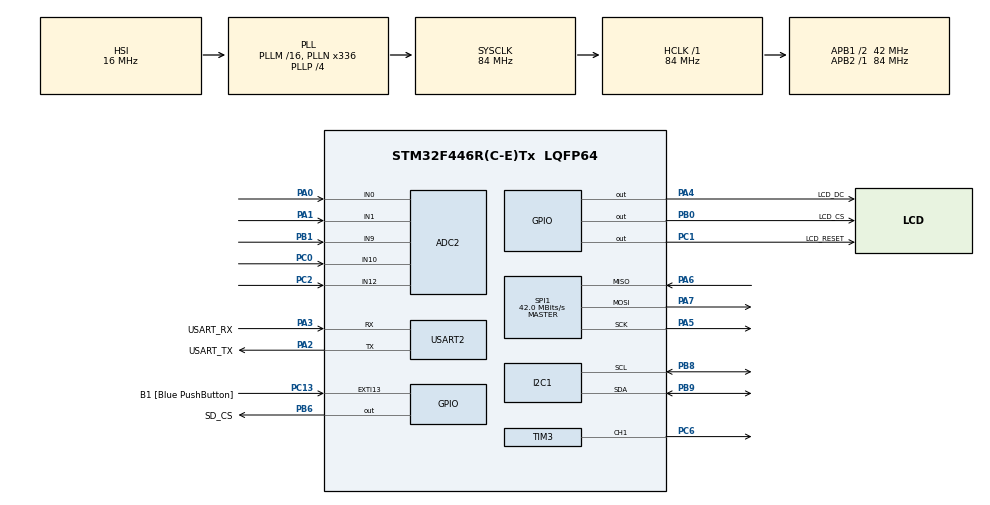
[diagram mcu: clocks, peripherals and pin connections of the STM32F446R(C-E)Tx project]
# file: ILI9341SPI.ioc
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ADC2.Channel-0\#ChannelRegularConversion=ADC_CHANNEL_0
ADC2.Channel-1\#ChannelRegularConversion=ADC_CHANNEL_1
ADC2.Channel-2\#ChannelRegularConversion=ADC_CHANNEL_9
ADC2.Channel-3\#ChannelRegularConversion=ADC_CHANNEL_10
ADC2.Channel-4\#ChannelRegularConversion=ADC_CHANNEL_12
ADC2.ContinuousConvMode=ENABLE
ADC2.DMAContinuousRequests=ENABLE
ADC2.DiscontinuousConvMode=DISABLE
ADC2.EOCSelection=ADC_EOC_SEQ_CONV
ADC2.NbrOfConversion=5
ADC2.NbrOfConversionFlag=1
ADC2.Rank-0\#ChannelRegularConversion=1
ADC2.Rank-1\#ChannelRegularConversion=2
ADC2.Rank-2\#ChannelRegularConversion=3
ADC2.Rank-3\#ChannelRegularConversion=4
ADC2.Rank-4\#ChannelRegularConversion=5
ADC2.SamplingTime-0\#ChannelRegularConversion=ADC_SAMPLETIME_480CYCLES
ADC2.SamplingTime-1\#ChannelRegularConversion=ADC_SAMPLETIME_480CYCLES
ADC2.SamplingTime-2\#ChannelRegularConversion=ADC_SAMPLETIME_480CYCLES
ADC2.SamplingTime-3\#ChannelRegularConversion=ADC_SAMPLETIME_480CYCLES
ADC2.SamplingTime-4\#ChannelRegularConversion=ADC_SAMPLETIME_480CYCLES
ADC2.ScanConvMode=ENABLE
Dma.ADC2.0.Direction=DMA_PERIPH_TO_MEMORY
Dma.ADC2.0.FIFOMode=DMA_FIFOMODE_DISABLE
Dma.ADC2.0.Instance=DMA2_Stream2
Dma.ADC2.0.MemDataAlignment=DMA_MDATAALIGN_HALFWORD
Dma.ADC2.0.MemInc=DMA_MINC_ENABLE
Dma.ADC2.0.Mode=DMA_CIRCULAR
Dma.ADC2.0.PeriphDataAlignment=DMA_PDATAALIGN_HALFWORD
Dma.ADC2.0.PeriphInc=DMA_PINC_DISABLE
Dma.ADC2.0.Priority=DMA_PRIORITY_LOW
Dma.Request0=ADC2
Dma.Request1=TIM3_CH1/TRIG
Dma.TIM3_CH1/TRIG.1.Direction=DMA_MEMORY_TO_PERIPH
Dma.TIM3_CH1/TRIG.1.FIFOMode=DMA_FIFOMODE_DISABLE
Dma.TIM3_CH1/TRIG.1.Instance=DMA1_Stream4
Dma.TIM3_CH1/TRIG.1.MemDataAlignment=DMA_MDATAALIGN_HALFWORD
Dma.TIM3_CH1/TRIG.1.MemInc=DMA_MINC_ENABLE
Dma.TIM3_CH1/TRIG.1.Mode=DMA_NORMAL
Dma.TIM3_CH1/TRIG.1.PeriphDataAlignment=DMA_PDATAALIGN_HALFWORD
Dma.TIM3_CH1/TRIG.1.PeriphInc=DMA_PINC_DISABLE
Dma.TIM3_CH1/TRIG.1.Priority=DMA_PRIORITY_LOW
I2C1.OwnAddress=0x18
Mcu.Family=STM32F4
Mcu.Name=STM32F446R(C-E)Tx
Mcu.Package=LQFP64
NVIC.DMA1_Stream4_IRQn=true\:0\:0\:false\:false\:true\:false\:true\:true
NVIC.DMA2_Stream2_IRQn=true\:0\:0\:false\:false\:true\:false\:true\:true
NVIC.I2C1_ER_IRQn=true\:0\:0\:false\:false\:true\:true\:true\:true
NVIC.I2C1_EV_IRQn=true\:0\:0\:false\:false\:true\:true\:true\:true
NVIC.PriorityGroup=NVIC_PRIORITYGROUP_0
PA0-WKUP.Signal=ADCx_IN0
PA1.Signal=ADCx_IN1
PA13.GPIO_Label=TMS
PA13.Mode=Serial_Wire
PA13.Signal=SYS_JTMS-SWDIO
PA14.GPIO_Label=TCK
PA14.Mode=Serial_Wire
PA14.Signal=SYS_JTCK-SWCLK
PA2.GPIO_Label=USART_TX
PA2.Mode=Asynchronous
PA2.Signal=USART2_TX
PA3.GPIO_Label=USART_RX
PA3.Mode=Asynchronous
PA3.Signal=USART2_RX
PA4.GPIO_Label=LCD_DC
PA4.GPIO_Speed=GPIO_SPEED_FREQ_MEDIUM
PA4.Signal=GPIO_Output
PA5.Mode=Full_Duplex_Master
PA5.Signal=SPI1_SCK
PA6.Mode=Full_Duplex_Master
PA6.Signal=SPI1_MISO
PA7.Mode=Full_Duplex_Master
PA7.Signal=SPI1_MOSI
PB0.GPIO_Label=LCD_CS
PB0.GPIO_Speed=GPIO_SPEED_FREQ_MEDIUM
PB0.Signal=GPIO_Output
PB1.Signal=ADCx_IN9
PB3.GPIO_Label=SWO
PB3.Signal=SYS_JTDO-SWO
PB6.GPIO_Label=SD_CS
PB6.GPIO_Speed=GPIO_SPEED_FREQ_MEDIUM
PB6.Signal=GPIO_Output
PB8.GPIO_Pu=GPIO_PULLUP
PB8.Mode=I2C
PB8.Signal=I2C1_SCL
PB9.GPIO_Pu=GPIO_PULLUP
PB9.Mode=I2C
PB9.Signal=I2C1_SDA
PC0.Signal=ADCx_IN10
PC1.GPIO_Label=LCD_RESET
PC1.GPIO_Speed=GPIO_SPEED_FREQ_MEDIUM
PC1.Signal=GPIO_Output
PC13.GPIO_Label=B1 [Blue PushButton]
PC13.GPIO_ModeDefaultEXTI=GPIO_MODE_IT_FALLING
PC13.Signal=GPXTI13
PC14-OSC32_IN.Mode=LSE-External-Oscillator
PC14-OSC32_IN.Signal=RCC_OSC32_IN
PC15-OSC32_OUT.Mode=LSE-External-Oscillator
PC15-OSC32_OUT.Signal=RCC_OSC32_OUT
PC2.Signal=ADCx_IN12
PC6.Signal=S_TIM3_CH1
PH0-OSC_IN.Mode=HSE-External-Oscillator
PH0-OSC_IN.Signal=RCC_OSC_IN
PH1-OSC_OUT.Mode=HSE-External-Oscillator
PH1-OSC_OUT.Signal=RCC_OSC_OUT
ProjectManager.HeapSize=0x200
ProjectManager.StackSize=0x400
ProjectManager.TargetToolchain=STM32CubeIDE
RCC.48MHZClocksFreq_Value=84000000
RCC.AHBFreq_Value=84000000
RCC.APB1CLKDivider=RCC_HCLK_DIV2
RCC.APB1Freq_Value=42000000
RCC.APB1TimFreq_Value=84000000
RCC.APB2Freq_Value=84000000
RCC.APB2TimFreq_Value=84000000
RCC.CortexFreq_Value=84000000
RCC.FLatency-AdvancedSettings=FLASH_LATENCY_2
RCC.HCLKFreq_Value=84000000
RCC.HSE_VALUE=8000000
RCC.HSI_VALUE=16000000
RCC.PLLN=336
RCC.PLLP=RCC_PLLP_DIV4
RCC.SYSCLKFreq_VALUE=84000000
RCC.SYSCLKSource=RCC_SYSCLKSOURCE_PLLCLK
RCC.USBFreq_Value=168000000
RCC.VCOOutputFreq_Value=336000000
SH.ADCx_IN0.0=ADC2_IN0,IN0
SH.ADCx_IN1.0=ADC2_IN1,IN1
SH.ADCx_IN10.0=ADC2_IN10,IN10
SH.ADCx_IN12.0=ADC2_IN12,IN12
SH.ADCx_IN9.0=ADC2_IN9,IN9
SH.S_TIM3_CH1.0=TIM3_CH1,PWM Generation1 CH1
SPI1.BaudRatePrescaler=SPI_BAUDRATEPRESCALER_2
SPI1.CalculateBaudRate=42.0 MBits/s
SPI1.Direction=SPI_DIRECTION_2LINES
SPI1.Mode=SPI_MODE_MASTER
SPI1.VirtualType=VM_MASTER
TIM3.Channel-PWM\ Generation1\ CH1=TIM_CHANNEL_1
TIM3.Period=105-1
USART2.VirtualMode=VM_ASYNC
VP_TIM3_VS_ClockSourceINT.Mode=Internal
board=NUCLEO-F446RE

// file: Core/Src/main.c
/* USER CODE BEGIN Header */
/**
 ******************************************************************************
 * @file           : main.c
 * @brief          : Main program body
 ******************************************************************************
 * @attention
 *
 * Copyright (c) 2024 STMicroelectronics.
 * All rights reserved.
 *
 * This software is licensed under terms that can be found in the LICENSE file
 * in the root directory of this software component.
 * If no LICENSE file comes with this software, it is provided AS-IS.
 *
 ******************************************************************************
 */
/* USER CODE END Header */
#include "main.h"

/* USER CODE BEGIN Includes */
#include "ili9341.h"
#include "bitmaps.h"
#include <stdio.h>
#include <string.h>
#include <stdlib.h>

#include "neopixel.h"
/* USER CODE END Includes */

/* USER CODE BEGIN PTD */
// Variables para actualizar la cantidad parqueos por niveles
uint8_t cant1 = 0;
uint8_t cant2 = 0;

char num;

uint16_t park[68*20]; // Buffer para guardar partes del mondo que son necesarios dibujar
uint16_t car[246*68]; // Buffer para guardar el sprite de los carros.
uint16_t he[183*80]; // Buffer para guardar el sprite del helicoptero.

//Varibales para verificación de ocupación de los paqueos en A
uint8_t park1A = 0;
uint8_t park2A = 0;
uint8_t park3A = 0;
uint8_t park4A = 0;
uint8_t park5A = 0;

//Varibales para verificación de ocupación de los paqueos en B
uint8_t park1B = 0;
uint8_t park2B = 0;
uint8_t park3B = 0;
uint8_t park4B = 0;
uint8_t park5B = 0;

/* USER CODE END PTD */

ADC_HandleTypeDef hadc2;
DMA_HandleTypeDef hdma_adc2;

I2C_HandleTypeDef hi2c1;

SPI_HandleTypeDef hspi1;

TIM_HandleTypeDef htim3;
DMA_HandleTypeDef hdma_tim3_ch1_trig;

UART_HandleTypeDef huart2;

/* USER CODE BEGIN PV */
volatile uint16_t ADCVal[5]; // Variable para guardar los ADC
volatile uint16_t sotB[4]; // Buffer pa
volatile uint8_t adc_index = 0;
float brilloled;

#define TXBUFFERSIZE 4
#define RXBUFFERSIZE 4

int count = 0;

uint8_t aTxBuffer [TXBUFFERSIZE];
uint8_t aRxBuffer [RXBUFFERSIZE];

uint8_t color_A[4] = {0, 0, 0, 0}; //Variables para actualizar los neopixeles
uint8_t color_B[4] = {0, 0, 0, 0}; //Variables para actualizar los neopixeles

//Variables para hacer un debug de los valores de ADC
//para hacer calibración
uint32_t ultimo_print_uart = 0;
char uart_buf[100];
/* USER CODE END PV */

void SystemClock_Config(void);
static void MX_GPIO_Init(void);
static void MX_DMA_Init(void);
static void MX_USART2_UART_Init(void);
static void MX_SPI1_Init(void);
static void MX_ADC2_Init(void);
static void MX_TIM3_Init(void);
static void MX_I2C1_Init(void);

/* USER CODE BEGIN 0 */

//************************ Función para mostrar parqueos en A ********************************
void parqueos_disponiblesA(uint8_t cant)
{
	if(cant == 0) // Si es 0 se muestran 4 paqueos disponibles en nivel A
	{
		LCD_Print("4", 270, 140, 2, 0x053d, 0xe71c);
	}
	else if (cant == 1) // Si es 1 se muestran 3 paqueos disponibles en nivel A
	{
		LCD_Print("3", 270, 140, 2, 0x053d, 0xe71c);
	}
	else if (cant == 2) // Si es 2 se muestran 2 paqueos disponibles en nivel A
		{
		LCD_Print("2", 270, 140, 2, 0x053d, 0xe71c);
		}
	else if (cant == 3) // Si es 3 se muestran 1 paqueos disponibles en nivel A
		{
		LCD_Print("1", 270, 140, 2, 0x053d, 0xe71c);
		}
	else if (cant == 4) // Si es 4 se muestran 0 paqueos disponibles en nivel A
		{
		LCD_Print("0", 270, 140, 2, 0x053d, 0xe71c);
		}
}

//************************ Función para mostrar parqueos en B ********************************
void parqueos_disponiblesB(uint8_t cant)
{
	if (cant == 0) // Si es 0 se muestran 4 paqueos disponibles en nivel B
		{
			LCD_Print("4", 270, 177, 2, 0x053d, 0xe71c);
		}
	else if (cant == 1) // Si es 1 se muestran 3 paqueos disponibles en nivel B
		{
			LCD_Print("3",270, 177, 2, 0x053d, 0xe71c);
		}
	else if (cant == 2) // Si es 2 se muestran 2 paqueos disponibles en nivel B
		{
			LCD_Print("2",270, 177, 2, 0x053d, 0xe71c);
		}
	else if (cant == 3) // Si es 3 se muestran 1 paqueos disponibles en nivel B
		{
			LCD_Print("1",270, 177, 2, 0x053d, 0xe71c);
		}
	else if (cant == 4) // Si es 4 se muestran 4 paqueos disponibles en nivel B
		{
			LCD_Print("0",270, 177, 2, 0x053d, 0xe71c);
		}
}

//************************ Función para actulizar las les en A ********************************
void actualizar_leds(void)
{
    // Parqueos A
    for (int i = 0; i < 5; i++)
    {
        if (ADCVal[i] < 1600) //Si se cumple se dice que esta ocupado
        {
            setPixelColor(i, 255, 0, 0); // Se pone ROJO
        }
        else //Si no se cumple el anterior esta disponible.
        {
            setPixelColor(i, 0, 255, 0); // Se pone VERDE
        }
    }
    pixelShow(); //Mostrar al final el resultados de los neopixeles
}

//************************ Función para hacer la animaciones de los autos y helicoptero ************************************
void AnimarAutoEnParqueo(int x, int y_start, int y_end, int w, int h, uint8_t frame, const uint16_t *sprite, int ancho_ss) {
    uint16_t color_t = 0xa501;
    uint16_t color_t_inv = (color_t << 8) | (color_t >> 8);
    int step = 4; // Velocidad de animación // Se puede aumentar
    int inicio_frame = frame * w;

    int old_y = y_start;
    int current_y = y_start;

    while (current_y != y_end) {
        if (y_start < y_end) { current_y += step; if(current_y > y_end) current_y = y_end; }
        else                 { current_y -= step; if(current_y < y_end) current_y = y_end; }

        int old_draw_y = (old_y < 0) ? 0 : old_y;
        int old_visible_h = h - ((old_y < 0) ? -old_y : 0);
        if (old_draw_y + old_visible_h > 240) old_visible_h = 240 - old_draw_y;

        int draw_y = (current_y < 0) ? 0 : current_y;
        int offset_y = (current_y < 0) ? -current_y : 0;
        int visible_h = h - offset_y;
        if (draw_y + visible_h > 240) visible_h = 240 - draw_y;

        // Borrar el rastro y dibujar el fondo
        if (current_y > old_y) { // Logica para bajar
            int gap_h = draw_y - old_draw_y;
            if (gap_h > 0 && old_draw_y >= 0 && old_draw_y < 240) {
                if (old_draw_y + gap_h > 240) gap_h = 240 - old_draw_y;
                for (int j = 0; j < gap_h; j++) {
                    for(int i = 0; i < w; i++) car[j*w+i] = parking[(old_draw_y+j)*320 + x + i];
                }
                LCD_Bitmap(x, old_draw_y, w, gap_h, car);
            }
        } else if (current_y < old_y) { // Logica para subir
            int old_bottom = old_draw_y + old_visible_h;
            int new_bottom = draw_y + visible_h;
            int gap_h = old_bottom - new_bottom;
            if (gap_h > 0 && new_bottom >= 0 && new_bottom < 240) {
                if (new_bottom + gap_h > 240) gap_h = 240 - new_bottom;
                for (int j = 0; j < gap_h; j++) {
                    for(int i = 0; i < w; i++) car[j*w+i] = parking[(new_bottom+j)*320 + x + i];
                }
                LCD_Bitmap(x, new_bottom, w, gap_h, car);
            }
        }

        // Dibujar el Auto
        if (visible_h > 0) {
            for (int j = 0; j < visible_h; j++) {
                for (int i = 0; i < w; i++) {
                    uint32_t sp_idx = (offset_y + j) * ancho_ss + inicio_frame + i;
                    uint16_t sp_px = sprite[sp_idx];
                    if (sp_px == color_t || sp_px == color_t_inv) {
                        car[j*w+i] = parking[(draw_y+j)*320 + x + i];
                    } else {
                        car[j*w+i] = sp_px;
                    }
                }
            }
            LCD_Bitmap(x, draw_y, w, visible_h, car);
        }
        old_y = current_y;
    }
}
/* USER CODE END 0 */

int main(void)
{

  /* MCU Configuration--------------------------------------------------------*/

  /* Reset of all peripherals, Initializes the Flash interface and the Systick. */
  HAL_Init();

  /* Configure the system clock */
  SystemClock_Config();

  /* Initialize all configured peripherals */
  MX_GPIO_Init();
  MX_DMA_Init();
  MX_USART2_UART_Init();
  MX_SPI1_Init();
  MX_ADC2_Init();
  MX_TIM3_Init();
  MX_I2C1_Init();
  /* USER CODE BEGIN 2 */
  //Inicialización de la pantalla
	LCD_Init();
	LCD_Clear(0x00);

	HAL_ADC_Start_DMA(&hadc2, (uint32_t *)ADCVal, 5); // Se inicia el DMA del ADC
	LCD_Bitmap(0, 0, 320, 240, parking); // Se Dibuja el fondo del parqueo
	LCD_Print("0", 270, 140, 2, 0x053d, 0xe71c); // Numero inicial en A
	LCD_Print("0", 270, 177, 2, 0x053d, 0xe71c); // Numero inicial en B

	//Dibujo de los semaforos
	LCD_DibujarSpriteUniversal(260, 205, 34, 20, semaforo, 1, 68, parking, 320, 0xe71c, park); // Semaforo del helicoptero

	//Semaforos de A
	LCD_DibujarSpriteUniversal(14, 90, 34, 20, semaforo, 1, 68, parking, 320, 0xe71c, park);
	LCD_DibujarSpriteUniversal(65, 90, 34, 20, semaforo, 1, 68, parking, 320, 0xe71c, park);
	LCD_DibujarSpriteUniversal(112, 90, 34, 20, semaforo, 1, 68, parking, 320, 0xe71c, park);
	LCD_DibujarSpriteUniversal(160, 90, 34, 20, semaforo, 1, 68, parking, 320, 0xe71c, park);

	//Semaforo de B
	LCD_DibujarSpriteUniversal(12, 130, 34, 20, semaforo, 1, 68, parking, 320, 0xe71c, park);
	LCD_DibujarSpriteUniversal(63, 130, 34, 20, semaforo, 1, 68, parking, 320, 0xe71c, park);
	LCD_DibujarSpriteUniversal(110, 130, 34, 20, semaforo, 1, 68, parking, 320, 0xe71c, park);
	LCD_DibujarSpriteUniversal(158, 130, 34, 20, semaforo, 1, 68, parking, 320, 0xe71c, park);

	//Inicializacion de los neopixeles
	pixelClear();
	setBrightness(50);
	pixelShow();

	//Inicializacion del I2C
	if (HAL_I2C_EnableListen_IT(&hi2c1) != HAL_OK) {
		Error_Handler();
		}
  /* USER CODE END 2 */

  /* Infinite loop */
  /* USER CODE BEGIN WHILE */
	while (1) {
		if (HAL_GetTick() - ultimo_print_uart >= 500) {
				ultimo_print_uart = HAL_GetTick();

				sprintf(uart_buf, "CH0: %u | CH1: %u | CH9: %u | CH10: %u\r\n",
						ADCVal[0], ADCVal[1], ADCVal[2], ADCVal[3]);

				HAL_UART_Transmit(&huart2, (uint8_t *)uart_buf, strlen(uart_buf), 100);
			}
/*
	for(int i = 0; i < 4; i++){
				if(ADCVal[i] < 1600) aTxBuffer[i] = 1; // Ocupado
				else if (ADCVal[i] > 1800) aTxBuffer[i] = 0; // Libre
			}*/
			//-------------------------NIVEL A: Animación del NIVEL A enviado I2C--------------------------
			// Parqueo A1
			if (aRxBuffer[3] == 1) { // Valor del buffer enviado desde I2C igual a 1
				if (park1A == 0) { //Se ejecuta si el parqueo esta libre
					park1A = 1; // Parqueo ocupado
					color_A[0] = rand() % 6; //Random para el frame de los sprite
					AnimarAutoEnParqueo(12, -68, 10, 41, 68, color_A[0], carroA, 246); // Se llama a la función de animación
					LCD_DibujarSpriteUniversal(14, 90, 34, 20, semaforo, 0, 68, parking, 320, 0xe71c, park); // Se dibuja el semaforo en rojo
					cant1++; // Aumento la cantidada para mostrarlo en la pantalla
					parqueos_disponiblesA(cant1); // Llamo a la función para mostrar en pantalla la cantidad de parqueos
				}
			} else { // Si el valor del buffer enviado desde I2C igual a 0
				if (park1A == 1) { // Solo se ejecuta cuando el parqueo estuvo ocupado
					park1A = 0; // Poner el paqueo en desocupado
					AnimarAutoEnParqueo(12, 10, -68, 41, 68, color_A[0], carroA, 246); // Se llama a la función de animación con el mismo frame ramdom para que no salga otro carro
					LCD_DibujarSpriteUniversal(14, 90, 34, 20, semaforo, 1, 68, parking, 320, 0xe71c, park); // Se dibuja el semaforo en verde
					cant1--; // Disminuye la catidad para mostrarlo en la pantalla
					parqueos_disponiblesA(cant1); // Llamo a la función para mostrar en pantalla la cantidad de parqueos
				}
			}

			// Parqueo A2
			if (aRxBuffer[2] == 1) { // Misma logica que en el primero
				if (park2A == 0) {
					park2A = 1;
					color_A[1] = rand() % 6;
					AnimarAutoEnParqueo(60, -68, 10, 41, 68, color_A[1], carroA, 246);
					LCD_DibujarSpriteUniversal(65, 90, 34, 20, semaforo, 0, 68, parking, 320, 0xe71c, park);
					cant1++;
					parqueos_disponiblesA(cant1);
				}
			} else {
				if (park2A == 1) {
					park2A = 0;
					AnimarAutoEnParqueo(60, 10, -68, 41, 68, color_A[1], carroA, 246);
					LCD_DibujarSpriteUniversal(65, 90, 34, 20, semaforo, 1, 68, parking, 320, 0xe71c, park);
					cant1--;
					parqueos_disponiblesA(cant1);
				}
			}

			// Parqueo A3
			if (aRxBuffer[1] == 1) { // Misma logica que en el primero
				if (park3A == 0) {
					park3A = 1;
					color_A[2] = rand() % 6;
					AnimarAutoEnParqueo(109, -68, 10, 41, 68, color_A[2], carroA, 246);
					LCD_DibujarSpriteUniversal(112, 90, 34, 20, semaforo, 0, 68, parking, 320, 0xe71c, park);
					cant1++;
					parqueos_disponiblesA(cant1);
				}
			} else {
				if (park3A == 1) {
					park3A = 0;
					AnimarAutoEnParqueo(109, 10, -68, 41, 68, color_A[2], carroA, 246);
					LCD_DibujarSpriteUniversal(112, 90, 34, 20, semaforo, 1, 68, parking, 320, 0xe71c, park);
					cant1--;
					parqueos_disponiblesA(cant1);
				}
			}

			// Parqueo A4
			if (aRxBuffer[0] == 1) { // Misma logica que en el primero
				if (park4A == 0) {
					park4A = 1;
					color_A[3] = rand() % 6;
					AnimarAutoEnParqueo(156, -68, 10, 41, 68, color_A[3], carroA, 246);
					LCD_DibujarSpriteUniversal(160, 90, 34, 20, semaforo, 0, 68, parking, 320, 0xe71c, park);
					cant1++;
					parqueos_disponiblesA(cant1);
				}
			} else {
				if (park4A == 1) {
					park4A = 0;
					AnimarAutoEnParqueo(156, 10, -68, 41, 68, color_A[3], carroA, 246);
					LCD_DibujarSpriteUniversal(160, 90, 34, 20, semaforo, 1, 68, parking, 320, 0xe71c, park);
					cant1--;
					parqueos_disponiblesA(cant1);
				}
			}

			//-------------------------NIVEL B: Animación del NIVEL B (Con sensores) --------------------------
			// Parqueo B1
			if (ADCVal[4] < 1600) { // Se lee el canal 0 del ADC, debe de ser menor a 1600
				if (park1B == 0) { // Entra si el paqueo esta libre
					park1B = 1; // Se pone el 1 para decir que esta ocupado
					color_B[0] = rand() % 6; // Se genera un random para el frame que se mostrara
					AnimarAutoEnParqueo(9, 240, 163, 41, 68, color_B[0], carroB, 246); // Se llama a la función de animación
					LCD_DibujarSpriteUniversal(12, 130, 34, 20, semaforo, 0, 68, parking, 320, 0xe71c, park); // Se dibuja el semaforo en rojo
					cant2++; // Aumenta la cantidad de parqueos diponibles.
					parqueos_disponiblesB(cant2); // Se llama la función para mostrar la cantidad parqueos en pantalla
				}
			} else if (ADCVal[4] > 1800) { // Se lee el canal 0 del ADC, debe de ser mayor a 1800
				if (park1B == 1) { // Entra si el parqueo esta ocupado
					park1B = 0; // Se pone en 0 para decir que esta libre
					AnimarAutoEnParqueo(9, 163, 240, 41, 68, color_B[0], carroB, 246); // Se llama a la función de animación
					LCD_DibujarSpriteUniversal(12, 130, 34, 20, semaforo, 1, 68, parking, 320, 0xe71c, park); // Se dibuja el semaforo en rojo
					cant2--; // Aumenta la cantidad de parqueos diponibles.
					parqueos_disponiblesB(cant2); // Se llama la función para mostrar la cantidad parqueos en pantalla
				}
			}

			// Parqueo B2
			if (ADCVal[3] < 1600) { //Misma logica que el primer ADC
				if (park2B == 0) {
					park2B = 1;
					color_B[1] = rand() % 6;
					AnimarAutoEnParqueo(58, 240, 163, 41, 68, color_B[1], carroB, 246);
					LCD_DibujarSpriteUniversal(63, 130, 34, 20, semaforo, 0, 68, parking, 320, 0xe71c, park);
					cant2++;
					parqueos_disponiblesB(cant2);
				}
			} else if (ADCVal[3] > 1800) {
				if (park2B == 1) {
					park2B = 0;
					AnimarAutoEnParqueo(58, 163, 240, 41, 68, color_B[1], carroB, 246);
					LCD_DibujarSpriteUniversal(63, 130, 34, 20, semaforo, 1, 68, parking, 320, 0xe71c, park);
					cant2--;
					parqueos_disponiblesB(cant2);
				}
			}

			// Parqueo B3
			if (ADCVal[2] < 1600) { //Misma logica que el primer ADC
				if (park3B == 0) {
					park3B = 1;
					color_B[2] = rand() % 6;
					AnimarAutoEnParqueo(107, 240, 163, 41, 68, color_B[2], carroB, 246);
					LCD_DibujarSpriteUniversal(110, 130, 34, 20, semaforo, 0, 68, parking, 320, 0xe71c, park);
					cant2++;
					parqueos_disponiblesB(cant2);
				}
			} else if (ADCVal[2] > 1800) {
				if (park3B == 1) {
					park3B = 0;
					AnimarAutoEnParqueo(107, 163, 240, 41, 68, color_B[2], carroB, 246);
					LCD_DibujarSpriteUniversal(110, 130, 34, 20, semaforo, 1, 68, parking, 320, 0xe71c, park);
					cant2--;
					parqueos_disponiblesB(cant2);
				}
			}

			// Parqueo B4
			if (ADCVal[1] < 1600) { //Misma logica que el primer ADC
				if (park4B == 0) {
					park4B = 1;
					color_B[3] = rand() % 6;
					AnimarAutoEnParqueo(155, 240, 163, 41, 68, color_B[3], carroB, 246);
					LCD_DibujarSpriteUniversal(158, 130, 34, 20, semaforo, 0, 68, parking, 320, 0xe71c, park);
					cant2++;
					parqueos_disponiblesB(cant2);
				}
			} else if (ADCVal[1] > 1800) {
				if (park4B == 1) {
					park4B = 0;
					AnimarAutoEnParqueo(155, 163, 240, 41, 68, color_B[3], carroB, 246);
					LCD_DibujarSpriteUniversal(158, 130, 34, 20, semaforo, 1, 68, parking, 320, 0xe71c, park);
					cant2--;
					parqueos_disponiblesB(cant2);
				}
			}

			//-------------------------HELIPUERTO: Animación --------------------------
			if (ADCVal[0] < 1600) { //Misma logica que el primer ADC
				if (park5A == 0) {
					park5A = 1;
					AnimarAutoEnParqueo(232, -80, 10, 61, 80, 1, helicop, 183);
					LCD_DibujarSpriteUniversal(260, 205, 34, 20, semaforo, 0, 68, parking, 320, 0xe71c, park);
				}
			} else if (ADCVal[0] > 1800) {
				if (park5A == 1) {
					park5A = 0;
					AnimarAutoEnParqueo(232, 10, -80, 61, 80, 1, helicop, 183);
					LCD_DibujarSpriteUniversal(260, 205, 34, 20, semaforo, 1, 68, parking, 320, 0xe71c, park);
				}
			}
			actualizar_leds();
    /* USER CODE END WHILE */
		  aTxBuffer[0] = park1B; // Valor 1 si está ocupado, 0 si está libre
		  aTxBuffer[1] = park2B;
		  aTxBuffer[2] = park3B;
		  aTxBuffer[3] = park4B;

	}
}

void SystemClock_Config(void)
{
  RCC_OscInitTypeDef RCC_OscInitStruct = {0};
  RCC_ClkInitTypeDef RCC_ClkInitStruct = {0};

  /** Configure the main internal regulator output voltage
  */
  __HAL_RCC_PWR_CLK_ENABLE();
  __HAL_PWR_VOLTAGESCALING_CONFIG(PWR_REGULATOR_VOLTAGE_SCALE3);

  /** Initializes the RCC Oscillators according to the specified parameters
  * in the RCC_OscInitTypeDef structure.
  */
  RCC_OscInitStruct.OscillatorType = RCC_OSCILLATORTYPE_HSI;
  RCC_OscInitStruct.HSIState = RCC_HSI_ON;
  RCC_OscInitStruct.HSICalibrationValue = RCC_HSICALIBRATION_DEFAULT;
  RCC_OscInitStruct.PLL.PLLState = RCC_PLL_ON;
  RCC_OscInitStruct.PLL.PLLSource = RCC_PLLSOURCE_HSI;
  RCC_OscInitStruct.PLL.PLLM = 16;
  RCC_OscInitStruct.PLL.PLLN = 336;
  RCC_OscInitStruct.PLL.PLLP = RCC_PLLP_DIV4;
  RCC_OscInitStruct.PLL.PLLQ = 2;
  RCC_OscInitStruct.PLL.PLLR = 2;
  if (HAL_RCC_OscConfig(&RCC_OscInitStruct) != HAL_OK)
  {
    Error_Handler();
  }

  /** Initializes the CPU, AHB and APB buses clocks
  */
  RCC_ClkInitStruct.ClockType = RCC_CLOCKTYPE_HCLK|RCC_CLOCKTYPE_SYSCLK
                              |RCC_CLOCKTYPE_PCLK1|RCC_CLOCKTYPE_PCLK2;
  RCC_ClkInitStruct.SYSCLKSource = RCC_SYSCLKSOURCE_PLLCLK;
  RCC_ClkInitStruct.AHBCLKDivider = RCC_SYSCLK_DIV1;
  RCC_ClkInitStruct.APB1CLKDivider = RCC_HCLK_DIV2;
  RCC_ClkInitStruct.APB2CLKDivider = RCC_HCLK_DIV1;

  if (HAL_RCC_ClockConfig(&RCC_ClkInitStruct, FLASH_LATENCY_2) != HAL_OK)
  {
    Error_Handler();
  }
}

static void MX_ADC2_Init(void)
{

  ADC_ChannelConfTypeDef sConfig = {0};

  /** Configure the global features of the ADC (Clock, Resolution, Data Alignment and number of conversion)
  */
  hadc2.Instance = ADC2;
  hadc2.Init.ClockPrescaler = ADC_CLOCK_SYNC_PCLK_DIV4;
  hadc2.Init.Resolution = ADC_RESOLUTION_12B;
  hadc2.Init.ScanConvMode = ENABLE;
  hadc2.Init.ContinuousConvMode = ENABLE;
  hadc2.Init.DiscontinuousConvMode = DISABLE;
  hadc2.Init.ExternalTrigConvEdge = ADC_EXTERNALTRIGCONVEDGE_NONE;
  hadc2.Init.ExternalTrigConv = ADC_SOFTWARE_START;
  hadc2.Init.DataAlign = ADC_DATAALIGN_RIGHT;
  hadc2.Init.NbrOfConversion = 5;
  hadc2.Init.DMAContinuousRequests = ENABLE;
  hadc2.Init.EOCSelection = ADC_EOC_SEQ_CONV;
  if (HAL_ADC_Init(&hadc2) != HAL_OK)
  {
    Error_Handler();
  }

  /** Configure for the selected ADC regular channel its corresponding rank in the sequencer and its sample time.
  */
  sConfig.Channel = ADC_CHANNEL_0;
  sConfig.Rank = 1;
  sConfig.SamplingTime = ADC_SAMPLETIME_480CYCLES;
  if (HAL_ADC_ConfigChannel(&hadc2, &sConfig) != HAL_OK)
  {
    Error_Handler();
  }

  /** Configure for the selected ADC regular channel its corresponding rank in the sequencer and its sample time.
  */
  sConfig.Channel = ADC_CHANNEL_1;
  sConfig.Rank = 2;
  if (HAL_ADC_ConfigChannel(&hadc2, &sConfig) != HAL_OK)
  {
    Error_Handler();
  }

  /** Configure for the selected ADC regular channel its corresponding rank in the sequencer and its sample time.
  */
  sConfig.Channel = ADC_CHANNEL_9;
  sConfig.Rank = 3;
  if (HAL_ADC_ConfigChannel(&hadc2, &sConfig) != HAL_OK)
  {
    Error_Handler();
  }

  /** Configure for the selected ADC regular channel its corresponding rank in the sequencer and its sample time.
  */
  sConfig.Channel = ADC_CHANNEL_10;
  sConfig.Rank = 4;
  if (HAL_ADC_ConfigChannel(&hadc2, &sConfig) != HAL_OK)
  {
    Error_Handler();
  }

  /** Configure for the selected ADC regular channel its corresponding rank in the sequencer and its sample time.
  */
  sConfig.Channel = ADC_CHANNEL_12;
  sConfig.Rank = 5;
  if (HAL_ADC_ConfigChannel(&hadc2, &sConfig) != HAL_OK)
  {
    Error_Handler();
  }

}

static void MX_I2C1_Init(void)
{

  hi2c1.Instance = I2C1;
  hi2c1.Init.ClockSpeed = 100000;
  hi2c1.Init.DutyCycle = I2C_DUTYCYCLE_2;
  hi2c1.Init.OwnAddress1 = 48;
  hi2c1.Init.AddressingMode = I2C_ADDRESSINGMODE_7BIT;
  hi2c1.Init.DualAddressMode = I2C_DUALADDRESS_DISABLE;
  hi2c1.Init.OwnAddress2 = 0;
  hi2c1.Init.GeneralCallMode = I2C_GENERALCALL_DISABLE;
  hi2c1.Init.NoStretchMode = I2C_NOSTRETCH_DISABLE;
  if (HAL_I2C_Init(&hi2c1) != HAL_OK)
  {
    Error_Handler();
  }

}

static void MX_SPI1_Init(void)
{

  /* SPI1 parameter configuration*/
  hspi1.Instance = SPI1;
  hspi1.Init.Mode = SPI_MODE_MASTER;
  hspi1.Init.Direction = SPI_DIRECTION_2LINES;
  hspi1.Init.DataSize = SPI_DATASIZE_8BIT;
  hspi1.Init.CLKPolarity = SPI_POLARITY_LOW;
  hspi1.Init.CLKPhase = SPI_PHASE_1EDGE;
  hspi1.Init.NSS = SPI_NSS_SOFT;
  hspi1.Init.BaudRatePrescaler = SPI_BAUDRATEPRESCALER_2;
  hspi1.Init.FirstBit = SPI_FIRSTBIT_MSB;
  hspi1.Init.TIMode = SPI_TIMODE_DISABLE;
  hspi1.Init.CRCCalculation = SPI_CRCCALCULATION_DISABLE;
  hspi1.Init.CRCPolynomial = 10;
  if (HAL_SPI_Init(&hspi1) != HAL_OK)
  {
    Error_Handler();
  }

}

static void MX_TIM3_Init(void)
{

  TIM_ClockConfigTypeDef sClockSourceConfig = {0};
  TIM_MasterConfigTypeDef sMasterConfig = {0};
  TIM_OC_InitTypeDef sConfigOC = {0};

  htim3.Instance = TIM3;
  htim3.Init.Prescaler = 0;
  htim3.Init.CounterMode = TIM_COUNTERMODE_UP;
  htim3.Init.Period = 105-1;
  htim3.Init.ClockDivision = TIM_CLOCKDIVISION_DIV1;
  htim3.Init.AutoReloadPreload = TIM_AUTORELOAD_PRELOAD_DISABLE;
  if (HAL_TIM_Base_Init(&htim3) != HAL_OK)
  {
    Error_Handler();
  }
  sClockSourceConfig.ClockSource = TIM_CLOCKSOURCE_INTERNAL;
  if (HAL_TIM_ConfigClockSource(&htim3, &sClockSourceConfig) != HAL_OK)
  {
    Error_Handler();
  }
  if (HAL_TIM_PWM_Init(&htim3) != HAL_OK)
  {
    Error_Handler();
  }
  sMasterConfig.MasterOutputTrigger = TIM_TRGO_RESET;
  sMasterConfig.MasterSlaveMode = TIM_MASTERSLAVEMODE_DISABLE;
  if (HAL_TIMEx_MasterConfigSynchronization(&htim3, &sMasterConfig) != HAL_OK)
  {
    Error_Handler();
  }
  sConfigOC.OCMode = TIM_OCMODE_PWM1;
  sConfigOC.Pulse = 0;
  sConfigOC.OCPolarity = TIM_OCPOLARITY_HIGH;
  sConfigOC.OCFastMode = TIM_OCFAST_DISABLE;
  if (HAL_TIM_PWM_ConfigChannel(&htim3, &sConfigOC, TIM_CHANNEL_1) != HAL_OK)
  {
    Error_Handler();
  }
  HAL_TIM_MspPostInit(&htim3);

}

static void MX_USART2_UART_Init(void)
{

  huart2.Instance = USART2;
  huart2.Init.BaudRate = 115200;
  huart2.Init.WordLength = UART_WORDLENGTH_8B;
  huart2.Init.StopBits = UART_STOPBITS_1;
  huart2.Init.Parity = UART_PARITY_NONE;
  huart2.Init.Mode = UART_MODE_TX_RX;
  huart2.Init.HwFlowCtl = UART_HWCONTROL_NONE;
  huart2.Init.OverSampling = UART_OVERSAMPLING_16;
  if (HAL_UART_Init(&huart2) != HAL_OK)
  {
    Error_Handler();
  }

}

static void MX_DMA_Init(void)
{

  /* DMA controller clock enable */
  __HAL_RCC_DMA2_CLK_ENABLE();
  __HAL_RCC_DMA1_CLK_ENABLE();

  /* DMA interrupt init */
  /* DMA1_Stream4_IRQn interrupt configuration */
  HAL_NVIC_SetPriority(DMA1_Stream4_IRQn, 0, 0);
  HAL_NVIC_EnableIRQ(DMA1_Stream4_IRQn);
  /* DMA2_Stream2_IRQn interrupt configuration */
  HAL_NVIC_SetPriority(DMA2_Stream2_IRQn, 0, 0);
  HAL_NVIC_EnableIRQ(DMA2_Stream2_IRQn);

}

static void MX_GPIO_Init(void)
{
  GPIO_InitTypeDef GPIO_InitStruct = {0};

  /* GPIO Ports Clock Enable */
  __HAL_RCC_GPIOC_CLK_ENABLE();
  __HAL_RCC_GPIOH_CLK_ENABLE();
  __HAL_RCC_GPIOA_CLK_ENABLE();
  __HAL_RCC_GPIOB_CLK_ENABLE();

  /*Configure GPIO pin Output Level */
  HAL_GPIO_WritePin(LCD_RESET_GPIO_Port, LCD_RESET_Pin, GPIO_PIN_RESET);

  /*Configure GPIO pin Output Level */
  HAL_GPIO_WritePin(LCD_DC_GPIO_Port, LCD_DC_Pin, GPIO_PIN_RESET);

  /*Configure GPIO pin Output Level */
  HAL_GPIO_WritePin(GPIOB, LCD_CS_Pin|SD_CS_Pin, GPIO_PIN_RESET);

  /*Configure GPIO pin : B1_Pin */
  GPIO_InitStruct.Pin = B1_Pin;
  GPIO_InitStruct.Mode = GPIO_MODE_IT_FALLING;
  GPIO_InitStruct.Pull = GPIO_NOPULL;
  HAL_GPIO_Init(B1_GPIO_Port, &GPIO_InitStruct);

  /*Configure GPIO pin : LCD_RESET_Pin */
  GPIO_InitStruct.Pin = LCD_RESET_Pin;
  GPIO_InitStruct.Mode = GPIO_MODE_OUTPUT_PP;
  GPIO_InitStruct.Pull = GPIO_NOPULL;
  GPIO_InitStruct.Speed = GPIO_SPEED_FREQ_MEDIUM;
  HAL_GPIO_Init(LCD_RESET_GPIO_Port, &GPIO_InitStruct);

  /*Configure GPIO pin : LCD_DC_Pin */
  GPIO_InitStruct.Pin = LCD_DC_Pin;
  GPIO_InitStruct.Mode = GPIO_MODE_OUTPUT_PP;
  GPIO_InitStruct.Pull = GPIO_NOPULL;
  GPIO_InitStruct.Speed = GPIO_SPEED_FREQ_MEDIUM;
  HAL_GPIO_Init(LCD_DC_GPIO_Port, &GPIO_InitStruct);

  /*Configure GPIO pins : LCD_CS_Pin SD_CS_Pin */
  GPIO_InitStruct.Pin = LCD_CS_Pin|SD_CS_Pin;
  GPIO_InitStruct.Mode = GPIO_MODE_OUTPUT_PP;
  GPIO_InitStruct.Pull = GPIO_NOPULL;
  GPIO_InitStruct.Speed = GPIO_SPEED_FREQ_MEDIUM;
  HAL_GPIO_Init(GPIOB, &GPIO_InitStruct);

}

/* USER CODE BEGIN 4 */
void HAL_I2C_ListenCpltCallback(I2C_HandleTypeDef *hi2c) {
    HAL_I2C_EnableListen_IT(hi2c);
}

void HAL_I2C_AddrCallback(I2C_HandleTypeDef*hi2c, uint8_t TransferDirection, uint16_t AddrMatchCode)
{
	if (TransferDirection == I2C_DIRECTION_TRANSMIT){
        // Maestro va a escribir se recibe el Nivel A
		if(HAL_I2C_Slave_Seq_Receive_IT(&hi2c1,(uint8_t*) aRxBuffer, 4, I2C_FIRST_AND_LAST_FRAME) != HAL_OK) {
			 HAL_I2C_EnableListen_IT(&hi2c1);
		}
	}
	else if (TransferDirection == I2C_DIRECTION_RECEIVE){
        // Maestro va a leer el Nivel B
		if(HAL_I2C_Slave_Seq_Transmit_IT(&hi2c1,(uint8_t*) aTxBuffer, 4, I2C_FIRST_AND_LAST_FRAME) != HAL_OK) {
			 HAL_I2C_EnableListen_IT(&hi2c1);
		}
	}
}

void HAL_I2C_SlaveRxCpltCallback(I2C_HandleTypeDef *hi2c) {
    // Se recibió correctamente la información del Nivel A
}

void HAL_I2C_SlaveTxCpltCallback(I2C_HandleTypeDef *hi2c) {
    // Se envió correctamente la información del Nivel B
}

void HAL_I2C_ErrorCallback(I2C_HandleTypeDef *I2cHandle) {
	if (HAL_I2C_GetError(I2cHandle) != HAL_I2C_ERROR_AF) {
        HAL_I2C_EnableListen_IT(&hi2c1);
	}
}
/* USER CODE END 4 */

void Error_Handler(void)
{
	__disable_irq();
	while (1) {
	}
}
